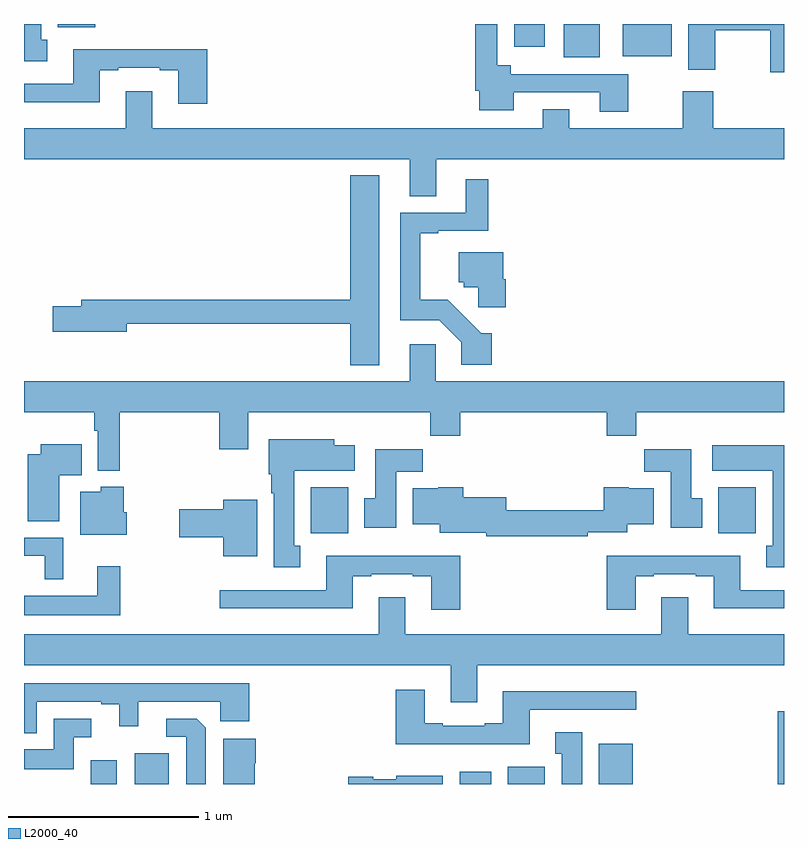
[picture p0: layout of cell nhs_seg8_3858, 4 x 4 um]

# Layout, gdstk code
import gdstk
lib = gdstk.Library(unit=1e-6, precision=1e-09)
def R(c, l, rs):  # rectangles x0, y0, x1, y1
    for r in rs: c.add(gdstk.rectangle(r[:2], r[2:], *l))
def P(c, l, *ps):  # polygons
    for p in ps: c.add(gdstk.Polygon(p, *l))
L2000_40 = (2000, 40)

nhs_seg8_3858 = lib.new_cell('nhs_seg8_3858')
R(nhs_seg8_3858, L2000_40, [(349.352,1091.9,349.489,1092.025), (349.583,1091.9,349.762,1092.061), (351.293,1091.9,351.46,1091.965), (351.545,1091.9,351.742,1091.992), (352.025,1091.9,352.204,1092.112), (352.966,1091.9,353,1092.283), (350.51,1093.22,350.707,1093.462), (352.655,1093.22,352.852,1093.462), (351.842,1095.725,352.03,1095.9), (352.151,1095.731,352.408,1095.9), (351.581,1095.78,351.742,1095.9), (349.178,1095.884,349.375,1095.9)])
P(nhs_seg8_3858, L2000_40, [(352.179,1095.636),(351.562,1095.636),(351.562,1095.682),(351.492,1095.682),(351.492,1095.9),(351.376,1095.9),(351.376,1095.55),(351.395,1095.55),(351.395,1095.446),(351.577,1095.446),(351.577,1095.54),(352.031,1095.54),(352.031,1095.438),(352.179,1095.438)],
  [(349.123,1095.818),(349.09,1095.818),(349.09,1095.9),(349,1095.9),(349,1095.705),(349.123,1095.705)],
  [(353,1095.9),(352.496,1095.9),(352.496,1095.66),(352.638,1095.66),(352.638,1095.868),(352.927,1095.868),(352.927,1095.645),(353,1095.645)],
  [(349.964,1095.766),(349.259,1095.766),(349.259,1095.585),(349,1095.585),(349,1095.488),(349.399,1095.488),(349.399,1095.657),(349.495,1095.657),(349.495,1095.669),(349.715,1095.669),(349.715,1095.657),(349.811,1095.657),(349.811,1095.48),(349.964,1095.48)],
  [(351.169,1095.188),(353,1095.188),(353,1095.352),(352.628,1095.352),(352.628,1095.547),(352.468,1095.547),(352.468,1095.352),(351.871,1095.352),(351.871,1095.451),(351.731,1095.451),(351.731,1095.352),(349.675,1095.352),(349.675,1095.547),(349.535,1095.547),(349.535,1095.352),(349,1095.352),(349,1095.188),(351.029,1095.188),(351.029,1094.994),(351.169,1094.994)],
  [(350.869,1095.103),(350.717,1095.103),(350.717,1094.45),(349.301,1094.45),(349.301,1094.414),(349.152,1094.414),(349.152,1094.279),(349.54,1094.279),(349.54,1094.322),(350.717,1094.322),(350.717,1094.105),(350.869,1094.105)],
  [(351.461,1094.272),(351.407,1094.272),(351.229,1094.45),(351.085,1094.45),(351.085,1094.799),(351.181,1094.799),(351.181,1094.811),(351.443,1094.811),(351.443,1095.082),(351.326,1095.082),(351.326,1094.907),(350.981,1094.907),(350.981,1094.34),(351.186,1094.34),(351.3,1094.226),(351.3,1094.106),(351.461,1094.106)],
  [(351.536,1094.556),(351.523,1094.556),(351.523,1094.698),(351.287,1094.698),(351.287,1094.541),(351.315,1094.541),(351.315,1094.514),(351.391,1094.514),(351.391,1094.409),(351.536,1094.409)],
  [(349.505,1093.856),(350.027,1093.856),(350.027,1093.662),(350.179,1093.662),(350.179,1093.856),(351.139,1093.856),(351.139,1093.732),(351.296,1093.732),(351.296,1093.856),(352.067,1093.856),(352.067,1093.732),(352.223,1093.732),(352.223,1093.856),(353,1093.856),(353,1094.02),(351.168,1094.02),(351.168,1094.215),(351.029,1094.215),(351.029,1094.02),(349,1094.02),(349,1093.856),(349.369,1093.856),(349.369,1093.76),(349.389,1093.76),(349.389,1093.55),(349.505,1093.55)],
  [(350.455,1093.154),(350.422,1093.154),(350.422,1093.55),(350.74,1093.55),(350.74,1093.684),(350.632,1093.684),(350.632,1093.714),(350.288,1093.714),(350.288,1093.53),(350.3,1093.53),(350.3,1093.43),(350.315,1093.43),(350.315,1093.041),(350.455,1093.041)],
  [(349.186,1093.526),(349.304,1093.526),(349.304,1093.687),(349.088,1093.687),(349.088,1093.636),(349.019,1093.636),(349.019,1093.282),(349.186,1093.282)],
  [(353,1093.684),(352.623,1093.684),(352.623,1093.55),(352.94,1093.55),(352.94,1093.154),(352.907,1093.154),(352.907,1093.041),(353,1093.041)],
  [(350.959,1093.544),(351.098,1093.544),(351.098,1093.663),(350.849,1093.663),(350.849,1093.404),(350.792,1093.404),(350.792,1093.248),(350.959,1093.248)],
  [(352.57,1093.404),(352.513,1093.404),(352.513,1093.663),(352.264,1093.663),(352.264,1093.544),(352.403,1093.544),(352.403,1093.248),(352.57,1093.248)],
  [(349.54,1093.329),(349.525,1093.329),(349.525,1093.465),(349.404,1093.465),(349.404,1093.438),(349.295,1093.438),(349.295,1093.211),(349.54,1093.211)],
  [(351.968,1093.224),(352.174,1093.224),(352.174,1093.268),(352.315,1093.268),(352.315,1093.456),(352.182,1093.456),(352.182,1093.462),(352.052,1093.462),(352.052,1093.34),(351.538,1093.34),(351.538,1093.408),(351.311,1093.408),(351.311,1093.462),(351.18,1093.462),(351.18,1093.456),(351.047,1093.456),(351.047,1093.268),(351.188,1093.268),(351.188,1093.223),(351.434,1093.223),(351.434,1093.204),(351.968,1093.204)],
  [(350.227,1093.396),(350.048,1093.396),(350.048,1093.346),(349.818,1093.346),(349.818,1093.199),(350.048,1093.199),(350.048,1093.1),(350.227,1093.1)],
  [(349.207,1093.197),(349,1093.197),(349,1093.101),(349.109,1093.101),(349.109,1092.977),(349.207,1092.977)],
  [(351.296,1093.102),(350.591,1093.102),(350.591,1092.921),(350.031,1092.921),(350.031,1092.824),(350.731,1092.824),(350.731,1092.993),(350.827,1092.993),(350.827,1093.005),(351.047,1093.005),(351.047,1092.993),(351.143,1092.993),(351.143,1092.816),(351.296,1092.816)],
  [(352.219,1092.993),(352.315,1092.993),(352.315,1093.005),(352.535,1093.005),(352.535,1092.993),(352.631,1092.993),(352.631,1092.824),(353,1092.824),(353,1092.921),(352.771,1092.921),(352.771,1093.102),(352.067,1093.102),(352.067,1092.816),(352.219,1092.816)],
  [(349.507,1093.045),(349.385,1093.045),(349.385,1092.892),(349,1092.892),(349,1092.788),(349.507,1092.788)],
  [(351.385,1092.524),(353,1092.524),(353,1092.688),(352.495,1092.688),(352.495,1092.883),(352.355,1092.883),(352.355,1092.688),(351.007,1092.688),(351.007,1092.883),(350.867,1092.883),(350.867,1092.688),(349,1092.688),(349,1092.524),(351.245,1092.524),(351.245,1092.33),(351.385,1092.33)],
  [(349.068,1092.333),(349.406,1092.333),(349.406,1092.321),(349.502,1092.321),(349.502,1092.204),(349.6,1092.204),(349.6,1092.333),(350.034,1092.333),(350.034,1092.23),(350.186,1092.23),(350.186,1092.429),(349,1092.429),(349,1092.167),(349.068,1092.167)],
  [(351.661,1092.291),(352.222,1092.291),(352.222,1092.388),(351.521,1092.388),(351.521,1092.22),(351.425,1092.22),(351.425,1092.207),(351.205,1092.207),(351.205,1092.22),(351.109,1092.22),(351.109,1092.397),(350.957,1092.397),(350.957,1092.11),(351.661,1092.11)],
  [(349.957,1092.086),(349.956,1092.086),(349.956,1092.197),(349.91,1092.243),(349.749,1092.243),(349.749,1092.15),(349.853,1092.15),(349.853,1091.9),(349.957,1091.9)],
  [(349.261,1092.147),(349.354,1092.147),(349.354,1092.243),(349.157,1092.243),(349.157,1092.082),(349,1092.082),(349,1091.978),(349.261,1091.978)],
  [(351.937,1092.172),(351.797,1092.172),(351.797,1092.059),(351.83,1092.059),(351.83,1091.9),(351.937,1091.9)],
  [(350.214,1092.008),(350.219,1092.008),(350.219,1092.139),(350.048,1092.139),(350.048,1091.9),(350.214,1091.9)],
  [(351.205,1091.944),(350.958,1091.944),(350.958,1091.926),(350.838,1091.926),(350.838,1091.939),(350.706,1091.939),(350.706,1091.9),(351.205,1091.9)])

lib.write_gds('nhs_seg8_3858.gds')
